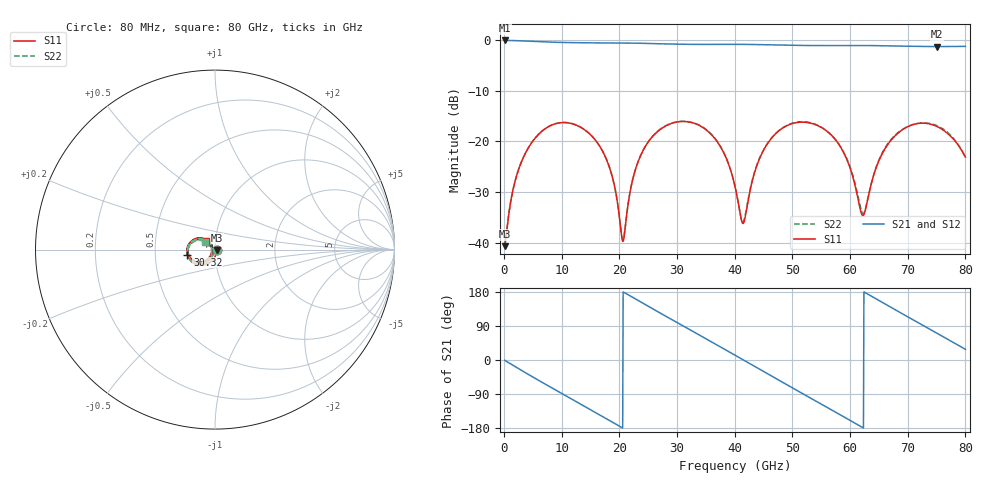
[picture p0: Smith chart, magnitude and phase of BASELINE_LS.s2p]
! TOUCHSTONE file generated by CST MICROWAVE STUDIO
! Date and time: Tue Nov 17 15:08:20 2026
! Project name: BASELINE - L+S - clad digs removed.cst
! Parameters = {BEND_RADIUS=0.1025; BOX_H=0.0047; CAP_H=0.0014; CAP_W=0.002; CLAD_H=0.0036; DEV_L=3.74; DEV_W=1.2; EL_L=3.24; EL_L2=1.44; EL_L3=1.44; GAP=0.00445; GAP2=0.0048; ISTANBUL_V1=0; L1=0.02; L2=0.066; L_OFF=0.04; MTX=0.002; N_CELL=17; N_CELL2=7; N_CELL3=7; PITCH=0.18; SI_H=0.525; SLAB_H=0.0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
! Header version: 2024
! Port assignment regex: !\s*Touchstone port\s*([0-9]+)\s*=\s*(CST MWS port|CST DES external port|CST DES block port)\s*(.+)\s* \(\"(.*)\"\)(\s*mode\s*([0-9]+))?.*
! Touchstone port assignment:
! Touchstone port 1 = CST MWS port 1 ("")
! Touchstone port 2 = CST MWS port 2 ("")
# GHz S MA R 50
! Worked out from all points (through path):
!   1000 points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, 80 MHz to 80 GHz, reference 50 ohm
!   highest |S21| = -0.08 dB at 80 MHz (marker M1); lowest = -1.3 dB at 75.04 GHz (marker M2)
!   group delay of S21, straight-line fit = 24 ps
!   lowest |S11| = -40.7 dB at 80 MHz (marker M3), VSWR 1.02, Z = 50.9 - j0.178 ohm
!   |S11| at or under -10 dB: start of sweep to end of sweep
!   |S22| runs from -40.5 to -16.0 dB; largest |S21 - S12| = 0.0019
!   S11 on the Smith chart (normalised r, x): 80 MHz: 1.02, -0.00; 30.32 GHz: 0.73, -0.04; 80 GHz: 0.90, +0.09
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0.08  0.009199 -11.0  0.9911 -0.7  0.9909 -0.7  0.009437 -10.8
2  0.04245 -92.1  0.9869 -18.3  0.9868 -18.3  0.04275 -91.8
4.64  0.09435 -119.6  0.9725 -42.0  0.9727 -42.0  0.09458 -119.2
9.04  0.1498 -160.3  0.9503 -80.1  0.9501 -80.2  0.1502 -159.4
13.44  0.1357 161.8  0.9403 -117.9  0.9404 -117.9  0.1364 162.9
17.92  0.06262 129.0  0.9375 -156.5  0.9374 -156.5  0.06277 130.9
20.56  0.01027 -178.4  0.9364 -179.5  0.9362 -179.5  0.01068 -177.5
23.04  0.05863 -115.3  0.9318 158.8  0.932 158.8  0.05867 -113.4
26.72  0.1263 -141.3  0.9199 126.8  0.92 126.8  0.1272 -139.1
30.32  0.156 -169.5  0.9102 96.0  0.9099 96.0  0.1568 -167.0
36.32  0.1102 143.9  0.906 44.8  0.9061 44.8  0.1113 147.2
40.08  0.03493 130.9  0.9077 12.3  0.9074 12.3  0.03512 134.6
41.52  0.01558 -168.6  0.9069 -0.3  0.9068 -0.3  0.01617 -164.2
45.84  0.09795 -132.0  0.8975 -37.9  0.8977 -37.9  0.09831 -128.5
49.68  0.1477 -160.4  0.8881 -70.9  0.8877 -70.8  0.149 -156.1
53.36  0.15 171.6  0.8827 -102.3  0.8832 -102.2  0.1515 176.0
58.56  0.08364 135.5  0.8842 -146.8  0.8836 -146.8  0.08465 141.5
62.16  0.01851 177.8  0.8842 -178.1  0.8845 -178.1  0.01955 -179.2
66.72  0.09598 -135.6  0.8763 142.2  0.8761 142.2  0.09787 -130.6
70.96  0.1465 -164.9  0.8676 105.7  0.8674 105.8  0.1468 -159.1
75.04  0.1403 164.1  0.8626 70.9  0.8635 70.8  0.143 171.1
80  0.06972 134.7  0.8664 28.1  0.8651 28.2  0.06953 142.3
